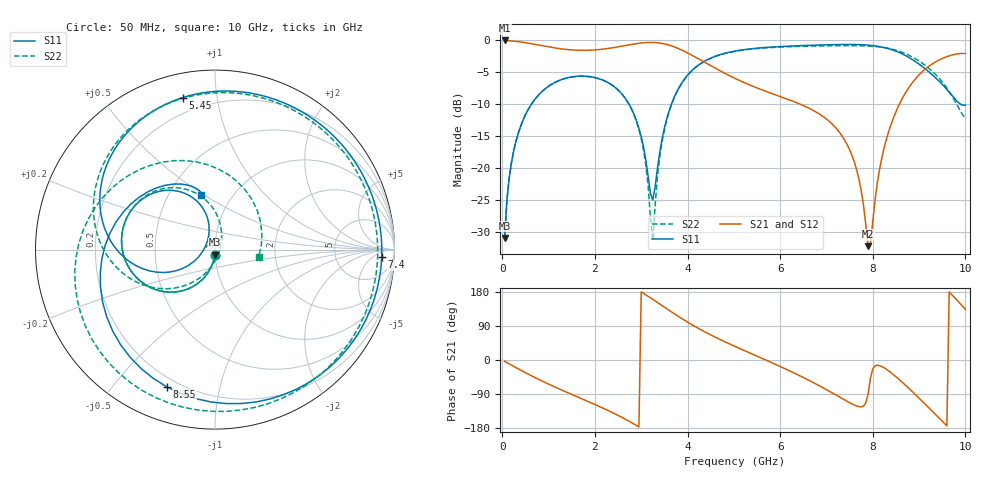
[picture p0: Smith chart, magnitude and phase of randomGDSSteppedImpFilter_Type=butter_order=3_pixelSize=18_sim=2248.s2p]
! freq	dB(S11)	phase(S11)	dB(S12)	phase(S12)
!  dB(S21)	phase(S21)	dB(S22)	phase(S22)
!S-par simulation data
#  GHz  S  DB  R 50
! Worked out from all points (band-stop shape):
!   200 points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, 50 MHz to 10 GHz, reference 50 ohm
!   highest |S21| = -0.01 dB at 50 MHz (marker M1); lowest = -32.2 dB at 7.9 GHz (marker M2)
!   |S21| within 3 dB of the highest: start of sweep to 4.267 GHz; 9.447 GHz to end of sweep
!   lowest |S11| = -30.9 dB at 50 MHz (marker M3), VSWR 1.06, Z = 49.7 - j2.83 ohm
!   |S11| at or under -10 dB: start of sweep to 626.9 MHz; 2.739 GHz to 3.65 GHz (911.5 MHz wide, 28.5 % of centre); 9.905 GHz to end of sweep
!   |S22| runs from -31.3 to -0.8 dB; largest |S21 - S12| = 0
!   S11 on the Smith chart (normalised r, x): 50 MHz: 0.99, -0.06; 5.45 GHz: 0.12, +0.80; 7.4 GHz: 20, -12; 8.55 GHz: 0.16, -0.70; 10 GHz: 0.72, +0.48
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0.05  -30.91 -93.6  -0.01 -3.5  -0.01 -3.5  -30.91 -93.6
0.2  -19.02 -104.1  -0.08 -13.7  -0.08 -13.7  -19.02 -104.0
0.5  -11.63 -124.0  -0.36 -33.5  -0.36 -33.5  -11.63 -123.9
1.75  -5.58 165.9  -1.55 -104.0  -1.55 -104.0  -5.59 165.5
2.85  -11.65 108.0  -0.55 -169.4  -0.55 -169.4  -11.76 96.9
3.1  -18.74 106.2  -0.34 171.9  -0.34 171.9  -19.51 69.8
3.25  -24.96 162.7  -0.32 160.0  -0.32 160.0  -31.26 -30.5
3.4  -17.48 -150.7  -0.41 147.7  -0.41 147.7  -18.17 -108.5
3.75  -8.29 -162.1  -1.11 119.1  -1.11 119.1  -8.37 -145.4
4.3  -3.54 162.7  -3.14 79.0  -3.14 79.0  -3.57 172.3
5.05  -1.64 121.7  -6.02 34.5  -6.02 34.5  -1.68 126.0
5.45  -1.25 102.0  -7.28 12.9  -7.28 12.9  -1.30 102.9
6.1  -0.92 70.6  -9.04 -22.7  -9.04 -22.7  -1.01 63.4
6.7  -0.75 39.7  -10.88 -58.6  -10.88 -58.6  -0.88 21.3
7.4  -0.63 -2.6  -15.67 -105.9  -15.67 -105.9  -0.82 -37.4
7.9  -0.74 -41.2  -32.17 -89.2  -32.17 -89.2  -0.88 -85.9
8.35  -1.31 -85.8  -14.11 -29.4  -14.11 -29.4  -1.26 -133.1
8.55  -1.82 -109.3  -10.35 -49.3  -10.35 -49.3  -1.64 -154.9
8.9  -3.21 -154.9  -6.19 -88.9  -6.19 -88.9  -2.78 166.5
9.3  -5.47 151.4  -3.60 -136.9  -3.60 -136.9  -4.93 120.6
9.65  -8.09 113.7  -2.41 179.7  -2.41 179.7  -7.98 72.0
10  -10.13 104.3  -2.04 133.5  -2.04 133.5  -12.17 -10.1
